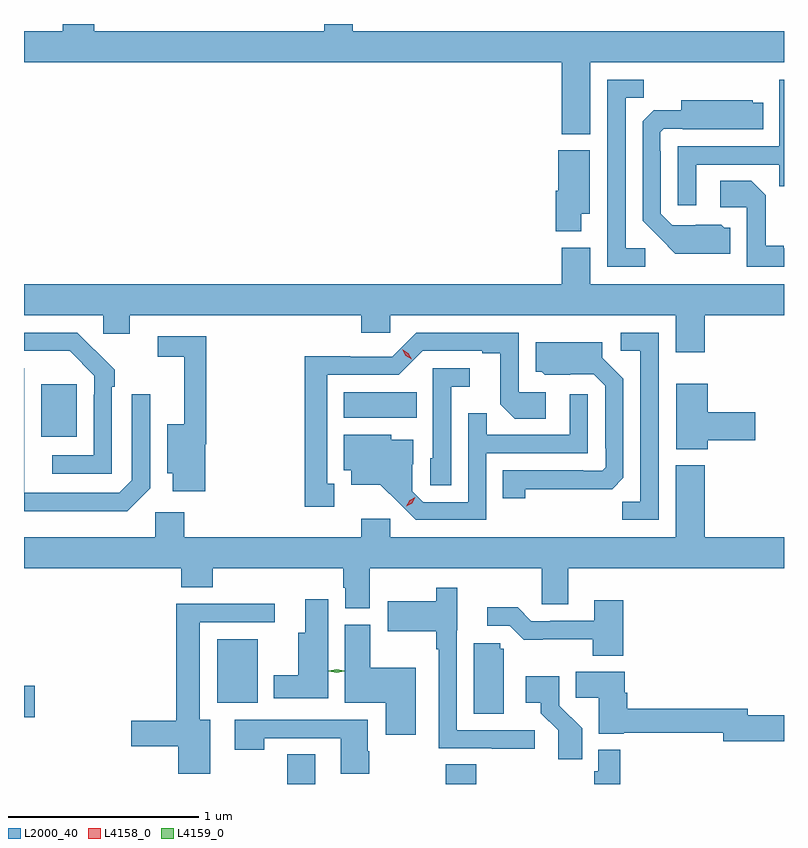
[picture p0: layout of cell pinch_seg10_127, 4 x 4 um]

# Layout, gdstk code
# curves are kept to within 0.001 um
import gdstk
lib = gdstk.Library(unit=1e-6, precision=1e-09)
def R(c, l, rs):  # rectangles x0, y0, x1, y1
    for r in rs: c.add(gdstk.rectangle(r[:2], r[2:], *l))
def P(c, l, *ps):  # polygons
    for p in ps: c.add(gdstk.Polygon(p, *l))
L2000_40 = (2000, 40)
L4158_0 = (4158, 0)
L4159_0 = (4159, 0)

pinch_seg10_127 = lib.new_cell('pinch_seg10_127')
R(pinch_seg10_127, L2000_40, [(712.054,1280.533,712.201,1280.69), (712.888,1280.533,713.048,1280.636), (710.669,1280.884,710.725,1281.049), (711.686,1280.96,711.898,1281.295), (710.759,1282.361,710.947,1282.636), (712.352,1282.46,712.736,1282.594)])
P(pinch_seg10_127, L2000_40, [(713.65,1284.332),(714.669,1284.332),(714.669,1284.496),(712.4,1284.496),(712.4,1284.533),(712.248,1284.533),(712.248,1284.496),(711.038,1284.496),(711.038,1284.533),(710.873,1284.533),(710.873,1284.496),(710.669,1284.496),(710.669,1284.332),(713.498,1284.332),(713.498,1283.954),(713.65,1283.954)],
  [(713.938,1283.352),(713.835,1283.352),(713.835,1284.145),(713.931,1284.145),(713.931,1284.24),(713.739,1284.24),(713.739,1283.256),(713.938,1283.256)],
  [(714.207,1283.793),(714.643,1283.793),(714.643,1283.68),(714.669,1283.68),(714.669,1284.24),(714.645,1284.24),(714.645,1283.889),(714.111,1283.889),(714.111,1283.58),(714.207,1283.58)],
  [(714.385,1283.46),(714.354,1283.46),(714.338,1283.476),(714.081,1283.475),(714.021,1283.535),(714.021,1283.864),(714.018,1283.864),(714.018,1283.964),(714.036,1283.982),(714.136,1283.982),(714.136,1283.978),(714.56,1283.978),(714.56,1284.118),(714.504,1284.118),(714.504,1284.133),(714.128,1284.133),(714.128,1284.079),(713.984,1284.079),(713.925,1284.02),(713.925,1283.498),(714.097,1283.324),(714.385,1283.324)],
  [(713.602,1283.534),(713.647,1283.534),(713.647,1283.869),(713.48,1283.869),(713.48,1283.655),(713.468,1283.655),(713.468,1283.441),(713.602,1283.441)],
  [(714.669,1283.352),(714.667,1283.352),(714.667,1283.365),(714.573,1283.365),(714.573,1283.632),(714.497,1283.708),(714.333,1283.708),(714.333,1283.568),(714.474,1283.568),(714.474,1283.256),(714.669,1283.256)],
  [(714.251,1283),(714.669,1283),(714.669,1283.164),(713.65,1283.164),(713.65,1283.356),(713.498,1283.356),(713.498,1283.164),(710.669,1283.164),(710.669,1283),(711.087,1283),(711.087,1282.902),(711.226,1282.902),(711.226,1283),(712.445,1283),(712.445,1282.907),(712.596,1282.907),(712.596,1283),(714.098,1283),(714.098,1282.806),(714.251,1282.806)],
  [(711.132,1282.625),(711.147,1282.625),(711.147,1282.713),(710.95,1282.908),(710.669,1282.908),(710.669,1282.812),(710.911,1282.812),(711.039,1282.683),(711.039,1282.583),(711.036,1282.583),(711.036,1282.263),(710.817,1282.263),(710.817,1282.167),(711.132,1282.167)],
  [(712.303,1282.113),(712.264,1282.113),(712.264,1282.686),(712.641,1282.686),(712.767,1282.812),(713.081,1282.812),(713.081,1282.8),(713.175,1282.8),(713.175,1282.532),(713.251,1282.456),(713.416,1282.456),(713.416,1282.596),(713.274,1282.596),(713.274,1282.908),(712.734,1282.908),(712.608,1282.782),(712.386,1282.782),(712.386,1282.784),(712.146,1282.784),(712.146,1281.993),(712.303,1281.993)],
  [(714.009,1282.908),(713.811,1282.908),(713.811,1282.812),(713.913,1282.812),(713.913,1282.019),(713.818,1282.019),(713.818,1281.924),(714.009,1281.924)],
  [(711.623,1282.322),(711.629,1282.322),(711.629,1282.89),(711.372,1282.89),(711.372,1282.782),(711.512,1282.782),(711.512,1282.426),(711.422,1282.426),(711.422,1282.169),(711.452,1282.169),(711.452,1282.074),(711.623,1282.074)],
  [(713.307,1282.084),(713.764,1282.085),(713.823,1282.144),(713.823,1282.666),(713.713,1282.776),(713.713,1282.858),(713.363,1282.858),(713.363,1282.704),(713.394,1282.704),(713.41,1282.688),(713.667,1282.689),(713.727,1282.629),(713.727,1282.3),(713.73,1282.3),(713.73,1282.2),(713.712,1282.182),(713.612,1282.182),(713.612,1282.185),(713.188,1282.185),(713.188,1282.038),(713.307,1282.038)],
  [(712.917,1282.625),(713.014,1282.625),(713.014,1282.722),(712.821,1282.722),(712.821,1282.248),(712.806,1282.248),(712.806,1282.105),(712.917,1282.105)],
  [(711.333,1282.089),(711.333,1282.585),(711.237,1282.585),(711.237,1282.131),(711.171,1282.065),(710.671,1282.065),(710.671,1282.265),(710.67,1282.265),(710.67,1282.722),(710.669,1282.722),(710.669,1281.968),(711.212,1281.968)],
  [(714.268,1282.343),(714.517,1282.343),(714.517,1282.49),(714.268,1282.49),(714.268,1282.639),(714.101,1282.639),(714.101,1282.295),(714.268,1282.295)],
  [(713.103,1282.275),(713.637,1282.275),(713.637,1282.585),(713.541,1282.585),(713.541,1282.371),(713.105,1282.371),(713.105,1282.484),(713.007,1282.484),(713.007,1282.017),(712.77,1282.017),(712.713,1282.074),(712.713,1282.216),(712.717,1282.216),(712.717,1282.345),(712.602,1282.345),(712.602,1282.372),(712.352,1282.372),(712.352,1282.185),(712.391,1282.185),(712.391,1282.109),(712.543,1282.109),(712.73,1281.924),(713.103,1281.924)],
  [(712.489,1281.668),(713.394,1281.668),(713.394,1281.478),(713.533,1281.478),(713.533,1281.668),(714.669,1281.668),(714.669,1281.832),(714.251,1281.832),(714.251,1282.21),(714.098,1282.21),(714.098,1281.832),(712.596,1281.832),(712.596,1281.928),(712.445,1281.928),(712.445,1281.832),(711.512,1281.832),(711.512,1281.964),(711.36,1281.964),(711.36,1281.832),(710.669,1281.832),(710.669,1281.668),(711.497,1281.668),(711.497,1281.569),(711.662,1281.569),(711.662,1281.668),(712.349,1281.668),(712.349,1281.567),(712.361,1281.567),(712.361,1281.457),(712.489,1281.457)],
  [(713.356,1280.817),(712.947,1280.817),(712.947,1281.342),(712.948,1281.342),(712.948,1281.565),(712.839,1281.565),(712.839,1281.496),(712.584,1281.496),(712.584,1281.338),(712.839,1281.338),(712.839,1281.242),(712.851,1281.242),(712.851,1280.721),(713.131,1280.721),(713.131,1280.719),(713.356,1280.719)],
  [(712.27,1281.505),(712.148,1281.505),(712.148,1281.328),(712.112,1281.328),(712.112,1281.106),(711.983,1281.106),(711.983,1280.984),(712.27,1280.984)],
  [(713.822,1281.499),(713.669,1281.499),(713.669,1281.393),(713.44,1281.393),(713.44,1281.39),(713.34,1281.39),(713.267,1281.463),(713.106,1281.463),(713.106,1281.366),(713.226,1281.366),(713.299,1281.293),(713.662,1281.294),(713.662,1281.209),(713.822,1281.209)],
  [(711.649,1280.872),(711.595,1280.872),(711.595,1281.384),(711.988,1281.384),(711.988,1281.482),(711.47,1281.482),(711.47,1280.867),(711.234,1280.867),(711.234,1280.732),(711.482,1280.732),(711.482,1280.586),(711.649,1280.586)],
  [(712.732,1281.145),(712.492,1281.145),(712.492,1281.372),(712.358,1281.372),(712.358,1280.96),(712.574,1280.96),(712.574,1280.793),(712.732,1280.793)],
  [(713.194,1281.246),(713.175,1281.246),(713.175,1281.273),(713.036,1281.273),(713.036,1280.902),(713.194,1280.902)],
  [(714.669,1280.894),(714.478,1280.894),(714.478,1280.93),(713.843,1280.93),(713.843,1281.014),(713.83,1281.014),(713.83,1281.124),(713.572,1281.124),(713.572,1280.986),(713.693,1280.986),(713.693,1280.798),(713.826,1280.798),(713.826,1280.802),(714.35,1280.802),(714.35,1280.759),(714.669,1280.759)],
  [(713.606,1280.826),(713.487,1280.945),(713.487,1281.1),(713.31,1281.1),(713.31,1280.96),(713.39,1280.96),(713.39,1280.905),(713.481,1280.815),(713.481,1280.664),(713.606,1280.664)],
  [(712.485,1280.705),(712.477,1280.705),(712.477,1280.871),(711.777,1280.871),(711.777,1280.712),(711.933,1280.712),(711.933,1280.775),(712.337,1280.775),(712.337,1280.586),(712.485,1280.586)],
  [(713.807,1280.713),(713.691,1280.713),(713.691,1280.601),(713.671,1280.601),(713.671,1280.533),(713.807,1280.533)])
P(pinch_seg10_127, L4158_0, [(712.682,1281.995),(712.682,1281.996),(712.698,1282.026),(712.729,1282.041),(712.729,1282.041),(712.729,1282.041),(712.712,1282.011),(712.682,1281.995)],
  [(712.709,1282.768),(712.678,1282.787),(712.661,1282.82),(712.661,1282.82),(712.661,1282.82),(712.692,1282.801),(712.709,1282.768),(712.709,1282.768)])
P(pinch_seg10_127, L4159_0, [(712.314,1281.118),(712.274,1281.127),(712.274,1281.128),(712.274,1281.128),(712.314,1281.138),(712.354,1281.128),(712.354,1281.128),(712.354,1281.127)])

lib.write_gds('pinch_seg10_127.gds')
